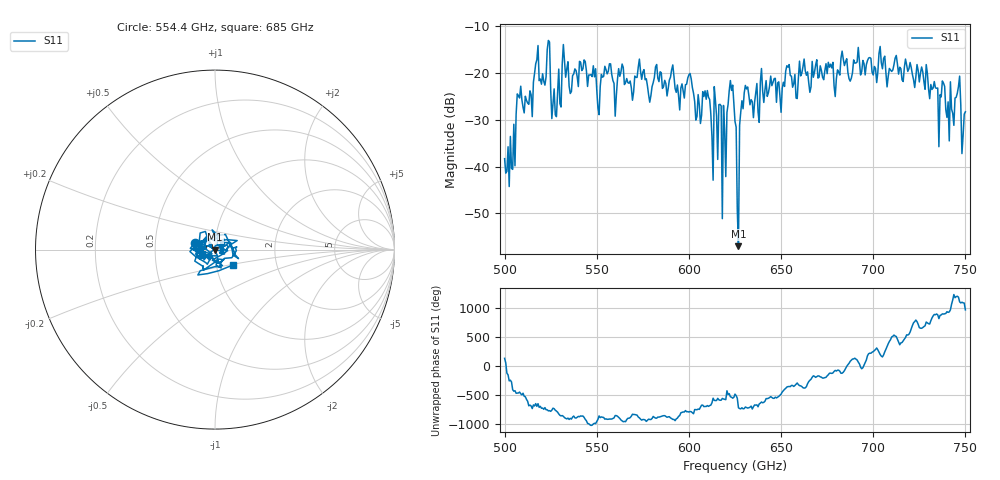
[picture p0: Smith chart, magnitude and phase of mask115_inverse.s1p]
!Created with skrf (http://scikit-rf.org).
# GHz S MA R 50.0
!freq magS11 angS11
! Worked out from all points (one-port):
!   401 points, 500 GHz to 750 GHz, reference 50 ohm
!   lowest |S11| = -57.0 dB at 626.9 GHz (marker M1), VSWR 1.00, Z = 50.1 - j0.00343 ohm
!   |S11| at or under -10 dB: start of sweep to end of sweep
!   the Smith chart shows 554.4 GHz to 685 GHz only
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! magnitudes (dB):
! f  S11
! 500 GHz  -38.3
! 505 GHz  -31.0
! 507.5 GHz  -24.9
! 513.8 GHz  -23.8
! 516.9 GHz  -18.1
! 523.8 GHz  -13.1
! 526.9 GHz  -23.4
! 531.2 GHz  -18.2
! 542.5 GHz  -19.1
! 551.2 GHz  -28.9
! 562.5 GHz  -20.7
! 593.8 GHz  -22.6
! 610 GHz  -23.8
! 611.9 GHz  -28.7
! 615 GHz  -29.2
! 619.4 GHz  -32.2
! 623.1 GHz  -23.8
! 625 GHz  -30.4
! 625.6 GHz  -31.6
! 626.9 GHz  -57.0
! 628.8 GHz  -26.0
! 631.2 GHz  -23.4
! 656.2 GHz  -23.1
! 687.5 GHz  -21.8
! 718.8 GHz  -19.7
! 742.5 GHz  -27.7
! 745.6 GHz  -24.3
! 750 GHz  -28.3
